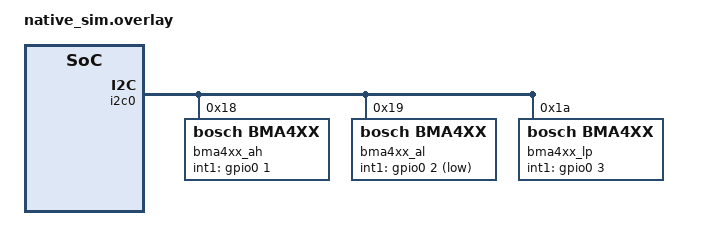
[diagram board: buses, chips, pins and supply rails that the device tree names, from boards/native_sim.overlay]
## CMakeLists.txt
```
# Copyright The Zephyr Project Contributors
# SPDX-License-Identifier: Apache-2.0

cmake_minimum_required(VERSION 3.28.0)
find_package(Zephyr REQUIRED HINTS $ENV{ZEPHYR_BASE})
project(bma4xx)

target_sources(app PRIVATE src/main.c)
```

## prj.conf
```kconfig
# Copyright The Zephyr Project Contributors
# SPDX-License-Identifier: Apache-2.0

CONFIG_ZTEST=y
CONFIG_SENSOR=y
CONFIG_SENSOR_ASYNC_API=y
CONFIG_EMUL=y
# Only the decoder is tested, from hand-built buffers
CONFIG_SENSOR_LOG_LEVEL_OFF=y
```

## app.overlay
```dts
/*
 * Copyright The Zephyr Project Contributors
 * SPDX-License-Identifier: Apache-2.0
 */

/*
 * No int1-gpios, so CONFIG_BMA4XX_STREAM stays disabled and the driver uses the
 * one-shot acquisition path.
 */
&i2c0 {
	bma4xx: bma4xx@18 {
		compatible = "bosch,bma4xx";
		reg = <0x18>;
	};
};
```

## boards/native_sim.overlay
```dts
/*
 * SPDX-FileCopyrightText: Copyright The Zephyr Project Contributors
 * SPDX-License-Identifier: Apache-2.0
 */

&i2c0 {
	bma4xx_ah: bma4xx@18 {
		compatible = "bosch,bma4xx";
		reg = <0x18>;
		int1-gpios = <&gpio0 1 GPIO_ACTIVE_HIGH>;
	};

	bma4xx_al: bma4xx@19 {
		compatible = "bosch,bma4xx";
		reg = <0x19>;
		int1-gpios = <&gpio0 2 GPIO_ACTIVE_LOW>;
	};

	bma4xx_lp: bma4xx@1a {
		compatible = "bosch,bma4xx";
		reg = <0x1a>;
		int1-gpios = <&gpio0 3 GPIO_ACTIVE_HIGH>;
		power-mode = "low-power";
	};
};
```

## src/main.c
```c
/*
 * Copyright The Zephyr Project Contributors
 *
 * SPDX-License-Identifier: Apache-2.0
 */

#include <zephyr/drivers/sensor.h>
#include <zephyr/sys/byteorder.h>
#include <zephyr/ztest.h>

#include "bma4xx_decoder.h"
#include "bma4xx_defs.h"

/* Allowed error of a decoded value, in micro-units (micro-m/s^2 or micro-degrees C) */
#define TOLERANCE_MICRO 1000

#define SAMPLE_TS_NS 123456789ULL

static const struct sensor_decoder_api *decoder = SENSOR_DECODER_DT_GET(DT_NODELABEL(bma4xx));

static const struct sensor_chan_spec chan_xyz = {SENSOR_CHAN_ACCEL_XYZ, 0};
static const struct sensor_chan_spec chan_axis[] = {
	{SENSOR_CHAN_ACCEL_X, 0},
	{SENSOR_CHAN_ACCEL_Y, 0},
	{SENSOR_CHAN_ACCEL_Z, 0},
};
static const struct sensor_chan_spec chan_temp = {SENSOR_CHAN_DIE_TEMP, 0};

static int64_t q31_to_micro(q31_t value, int8_t shift)
{
	return ((int64_t)value * 1000000) >> (31 - shift);
}

/* 12-bit sample to micro-m/s^2: full scale (2048 LSB) is 2 << accel_fs g */
static int64_t raw_to_micro(int16_t raw, uint8_t accel_fs)
{
	return (int64_t)raw * (2 << accel_fs) * SENSOR_G / 2048;
}

static void check_accel(q31_t value, int8_t shift, int16_t raw, uint8_t accel_fs)
{
	int64_t expected = raw_to_micro(raw, accel_fs);
	int64_t actual = q31_to_micro(value, shift);

	zassert_within(actual, expected, TOLERANCE_MICRO, "raw %d: got %lld, expected %lld", raw,
		       actual, expected);
}

/* Store a 12-bit sample left-justified in a 16-bit little endian word, as the sensor does */
static void put_accel(uint8_t *data, int16_t x, int16_t y, int16_t z)
{
	sys_put_le16((uint16_t)x << 4, &data[0]);
	sys_put_le16((uint16_t)y << 4, &data[2]);
	sys_put_le16((uint16_t)z << 4, &data[4]);
}

static void check_unsupported(const uint8_t *buffer, struct sensor_chan_spec chan)
{
	struct sensor_three_axis_data out;
	uint16_t frame_count;
	uint32_t fit = 0;

	zassert_equal(decoder->get_frame_count(buffer, chan, &frame_count), -ENOTSUP);
	zassert_equal(decoder->decode(buffer, chan, &fit, 1, &out), -ENOTSUP);
}

static void check_size_info(struct sensor_chan_spec chan, size_t base, size_t frame)
{
	size_t base_size;
	size_t frame_size;

	zassert_ok(decoder->get_size_info(chan, &base_size, &frame_size));
	zassert_equal(base_size, base);
	zassert_equal(frame_size, frame);
}

ZTEST(bma4xx_decoder, test_size_info)
{
	size_t base_size;
	size_t frame_size;

	check_size_info(chan_xyz, sizeof(struct sensor_three_axis_data),
			sizeof(struct sensor_three_axis_sample_data));

	for (int i = 0; i < ARRAY_SIZE(chan_axis); i++) {
		check_size_info(chan_axis[i], sizeof(struct sensor_q31_data),
				sizeof(struct sensor_q31_sample_data));
	}

	if (IS_ENABLED(CONFIG_BMA4XX_TEMPERATURE)) {
		check_size_info(chan_temp, sizeof(struct sensor_q31_data),
				sizeof(struct sensor_q31_sample_data));
	} else {
		zassert_equal(decoder->get_size_info(chan_temp, &base_size, &frame_size), -ENOTSUP);
	}

	zassert_equal(decoder->get_size_info((struct sensor_chan_spec){SENSOR_CHAN_GYRO_XYZ, 0},
					     &base_size, &frame_size),
		      -ENOTSUP);
	zassert_equal(decoder->get_size_info((struct sensor_chan_spec){SENSOR_CHAN_ACCEL_XYZ, 1},
					     &base_size, &frame_size),
		      -ENOTSUP);
}

static void check_single(uint8_t accel_fs, int16_t x, int16_t y, int16_t z)
{
	const int16_t raw[] = {x, y, z};
	struct bma4xx_encoded_data edata = {
		.header.timestamp = SAMPLE_TS_NS,
		.header.accel_fs = accel_fs,
	};
	const uint8_t *buffer = (const uint8_t *)&edata;
	struct sensor_three_axis_data out;
	struct sensor_q31_data out_1;
	uint16_t frame_count;
	uint32_t fit = 0;

	put_accel(edata.accel_xyz_raw_data, x, y, z);

	zassert_ok(decoder->get_frame_count(buffer, chan_xyz, &frame_count));
	zassert_equal(frame_count, 1);

	out.readings[0].timestamp_delta = 0xdeadbeef;
	zassert_equal(decoder->decode(buffer, chan_xyz, &fit, 1, &out), 1);
	zassert_equal(out.header.reading_count, 1);
	zassert_equal(out.header.base_timestamp_ns, SAMPLE_TS_NS);
	zassert_equal(out.readings[0].timestamp_delta, 0);
	zassert_equal(out.shift, 5 + accel_fs);
	check_accel(out.readings[0].x, out.shift, x, accel_fs);
	check_accel(out.readings[0].y, out.shift, y, accel_fs);
	check_accel(out.readings[0].z, out.shift, z, accel_fs);
	zassert_equal(decoder->decode(buffer, chan_xyz, &fit, 1, &out), 0);

	for (int i = 0; i < ARRAY_SIZE(chan_axis); i++) {
		zassert_ok(decoder->get_frame_count(buffer, chan_axis[i], &frame_count));
		zassert_equal(frame_count, 1);

		fit = 0;
		zassert_equal(decoder->decode(buffer, chan_axis[i], &fit, 1, &out_1), 1);
		zassert_equal(out_1.header.reading_count, 1);
		zassert_equal(out_1.header.base_timestamp_ns, SAMPLE_TS_NS);
		zassert_equal(out_1.shift, 5 + accel_fs);
		check_accel(out_1.readings[0].value, out_1.shift, raw[i], accel_fs);
		zassert_equal(decoder->decode(buffer, chan_axis[i], &fit, 1, &out_1), 0);
	}

	/* Nothing requested */
	fit = 0;
	zassert_equal(decoder->decode(buffer, chan_xyz, &fit, 0, &out), 0);

	zassert_false(decoder->has_trigger(buffer, SENSOR_TRIG_FIFO_WATERMARK));
	zassert_false(decoder->has_trigger(buffer, SENSOR_TRIG_FIFO_FULL));

	check_unsupported(buffer, (struct sensor_chan_spec){SENSOR_CHAN_GYRO_XYZ, 0});
	check_unsupported(buffer, (struct sensor_chan_spec){SENSOR_CHAN_ACCEL_XYZ, 1});
	if (!IS_ENABLED(CONFIG_BMA4XX_TEMPERATURE)) {
		check_unsupported(buffer, chan_temp);
	}
}

ZTEST(bma4xx_decoder, test_single_2g)
{
	check_single(BMA4XX_RANGE_2G, 1024, -1024, 2047);
}

ZTEST(bma4xx_decoder, test_single_4g)
{
	check_single(BMA4XX_RANGE_4G, -2048, 512, -1);
}

ZTEST(bma4xx_decoder, test_single_8g)
{
	check_single(BMA4XX_RANGE_8G, 256, 0, -256);
}

ZTEST(bma4xx_decoder, test_single_16g)
{
	check_single(BMA4XX_RANGE_16G, 2047, -2048, 128);
}

ZTEST(bma4xx_decoder, test_single_fifo_flag)
{
	struct bma4xx_encoded_data edata = {
		.header.timestamp = SAMPLE_TS_NS,
		.header.accel_fs = BMA4XX_RANGE_2G,
	};
	const uint8_t *buffer = (const uint8_t *)&edata;
	struct sensor_three_axis_data out;
	uint16_t frame_count;
	uint32_t fit = 0;

	Z_TEST_SKIP_IFDEF(CONFIG_BMA4XX_STREAM);

	/* The encoder only writes the FIFO flag with CONFIG_BMA4XX_STREAM */
	edata.header.is_fifo = 1;
	put_accel(edata.accel_xyz_raw_data, 1024, 0, -1024);

	zassert_ok(decoder->get_frame_count(buffer, chan_xyz, &frame_count));
	zassert_equal(frame_count, 1);
	zassert_equal(decoder->decode(buffer, chan_xyz, &fit, 1, &out), 1);
	check_accel(out.readings[0].x, out.shift, 1024, BMA4XX_RANGE_2G);
	check_accel(out.readings[0].z, out.shift, -1024, BMA4XX_RANGE_2G);
}

#ifdef CONFIG_BMA4XX_TEMPERATURE

static void check_temp(int8_t raw)
{
	struct bma4xx_encoded_data edata = {
		.header.timestamp = SAMPLE_TS_NS,
		.header.accel_fs = BMA4XX_RANGE_2G,
		.temp = raw,
	};
	const uint8_t *buffer = (const uint8_t *)&edata;
	struct sensor_q31_data out;
	uint16_t frame_count;
	uint32_t fit = 0;
	int64_t expected = ((int64_t)raw + 23) * 1000000;

	zassert_ok(decoder->get_frame_count(buffer, chan_temp, &frame_count));
	zassert_equal(frame_count, 1);

	zassert_equal(decoder->decode(buffer, chan_temp, &fit, 1, &out), 1);
	zassert_equal(out.header.reading_count, 1);
	zassert_equal(out.header.base_timestamp_ns, SAMPLE_TS_NS);
	zassert_equal(out.readings[0].timestamp_delta, 0);
	zassert_equal(out.shift, BMA4XX_TEMP_SHIFT);
	zassert_within(q31_to_micro(out.readings[0].temperature, out.shift), expected,
		       TOLERANCE_MICRO);
	zassert_equal(decoder->decode(buffer, chan_temp, &fit, 1, &out), 0);
}

ZTEST(bma4xx_decoder, test_single_temp)
{
	check_temp(0);
	check_temp(-10);
	check_temp(INT8_MAX);
	check_temp(INT8_MIN);
}

#endif /* CONFIG_BMA4XX_TEMPERATURE */

#ifdef CONFIG_BMA4XX_STREAM

#define LAST_TS_NS   10000000000ULL
#define FIFO_SIZE    128
#define MAX_READINGS 8

#define HEADER_ACCEL      0x84
#define HEADER_AUX        0x90
#define HEADER_AUX_ACCEL  0x94
#define HEADER_SKIP       0x40
#define HEADER_SENSORTIME 0x44
#define HEADER_CONFIG     0x48
#define HEADER_OVER_READ  0x80
#define HEADER_CTRL_OVER  0x60
#define HEADER_INVALID    0x00

static struct {
	struct bma4xx_fifo_data hdr;
	uint8_t data[FIFO_SIZE];
} __packed fifo;

static size_t fifo_len;

/*
 * Output of several readings, accessed through a pointer: indexing readings[] beyond the
 * first reading of a declared struct object is undefined behavior.
 */
#define OUT_BUF_SIZE                                                                               \
	(sizeof(struct sensor_three_axis_data) +                                                   \
	 (MAX_READINGS - 1) * sizeof(struct sensor_three_axis_sample_data))

static __aligned(8) uint8_t out_buf[OUT_BUF_SIZE];

static void fifo_init(uint8_t accel_fs, uint8_t accel_odr, uint8_t int_status)
{
	memset(&fifo, 0, sizeof(fifo));
	fifo.hdr.header.is_fifo = 1;
	fifo.hdr.header.accel_fs = accel_fs;
	fifo.hdr.header.timestamp = LAST_TS_NS;
	fifo.hdr.int_status = int_status;
	fifo.hdr.accel_odr = accel_odr;
	fifo_len = 0;
}

static void fifo_put(uint8_t header, size_t len)
{
	zassert_true(fifo_len + 1 + len <= FIFO_SIZE);
	fifo.data[fifo_len] = header;
	/* Filler for payloads that are not accelerometer data */
	memset(&fifo.data[fifo_len + 1], 0xa5, len);
	fifo_len += 1 + len;
	fifo.hdr.fifo_count = fifo_len;
}

static void fifo_put_accel(uint8_t header, int16_t x, int16_t y, int16_t z)
{
	size_t aux_len = (header == HEADER_AUX_ACCEL) ? BMA4XX_FIFO_M_LENGTH : 0;

	fifo_put(header, aux_len + BMA4XX_FIFO_A_LENGTH);
	put_accel(&fifo.data[fifo_len - BMA4XX_FIFO_A_LENGTH], x, y, z);
}

#define NUM_ACCEL 3

static const int16_t fifo_raw[NUM_ACCEL][3] = {
	{100, -200, 1024},
	{-2048, 2047, 0},
	{-5, 5, -1024},
};

/*
 * Accelerometer frames mixed with control and auxiliary frames, which do not hold readings
 * and do not take a time slot.
 */
static void fifo_fill_mixed(uint8_t accel_fs, uint8_t accel_odr)
{
	fifo_init(accel_fs, accel_odr, BMA4XX_BIT_INT_STAT_1_FWM_INT);
	fifo_put(HEADER_CONFIG, BMA4XX_FIFO_CF_LENGTH);
	fifo_put_accel(HEADER_ACCEL, fifo_raw[0][0], fifo_raw[0][1], fifo_raw[0][2]);
	fifo_put(HEADER_SKIP, BMA4XX_FIFO_CF_LENGTH);
	fifo_put(HEADER_AUX, BMA4XX_FIFO_M_LENGTH);
	fifo_put_accel(HEADER_AUX_ACCEL, fifo_raw[1][0], fifo_raw[1][1], fifo_raw[1][2]);
	fifo_put(HEADER_SENSORTIME, BMA4XX_FIFO_ST_LENGTH);
	fifo_put_accel(HEADER_ACCEL, fifo_raw[2][0], fifo_raw[2][1], fifo_raw[2][2]);
}

static uint64_t reading_ts(uint64_t period_ns, int idx)
{
	return LAST_TS_NS - (NUM_ACCEL - 1 - idx) * period_ns;
}

static void check_fifo(uint8_t accel_fs, uint8_t accel_odr, uint64_t period_ns)
{
	const uint8_t *buffer = (const uint8_t *)&fifo;
	struct sensor_three_axis_data *out = (struct sensor_three_axis_data *)out_buf;
	const struct sensor_three_axis_sample_data *readings = out->readings;
	struct sensor_q31_data *out_q31 = (struct sensor_q31_data *)out_buf;
	struct sensor_q31_data out_1;
	uint16_t frame_count;
	uint32_t fit = 0;

	fifo_fill_mixed(accel_fs, accel_odr);

	zassert_ok(decoder->get_frame_count(buffer, chan_xyz, &frame_count));
	zassert_equal(frame_count, NUM_ACCEL);

	/* All readings in one call */
	zassert_equal(decoder->decode(buffer, chan_xyz, &fit, MAX_READINGS, out), NUM_ACCEL);
	zassert_equal(out->header.reading_count, NUM_ACCEL);
	zassert_equal(out->header.base_timestamp_ns, reading_ts(period_ns, 0));
	zassert_equal(out->shift, 5 + accel_fs);

	for (int i = 0; i < NUM_ACCEL; i++) {
		zassert_equal(out->header.base_timestamp_ns + readings[i].timestamp_delta,
			      reading_ts(period_ns, i));
		check_accel(readings[i].x, out->shift, fifo_raw[i][0], accel_fs);
		check_accel(readings[i].y, out->shift, fifo_raw[i][1], accel_fs);
		check_accel(readings[i].z, out->shift, fifo_raw[i][2], accel_fs);
	}

	zassert_equal(decoder->decode(buffer, chan_xyz, &fit, MAX_READINGS, out), 0);

	/* One reading per call */
	fit = 0;
	for (int i = 0; i < NUM_ACCEL; i++) {
		zassert_equal(decoder->decode(buffer, chan_xyz, &fit, 1, out), 1);
		zassert_equal(out->header.reading_count, 1);
		zassert_equal(out->header.base_timestamp_ns + readings[0].timestamp_delta,
			      reading_ts(period_ns, i));
		check_accel(readings[0].x, out->shift, fifo_raw[i][0], accel_fs);
		check_accel(readings[0].y, out->shift, fifo_raw[i][1], accel_fs);
		check_accel(readings[0].z, out->shift, fifo_raw[i][2], accel_fs);
	}
	zassert_equal(decoder->decode(buffer, chan_xyz, &fit, 1, out), 0);

	/* Single axes */
	for (int axis = 0; axis < ARRAY_SIZE(chan_axis); axis++) {
		zassert_ok(decoder->get_frame_count(buffer, chan_axis[axis], &frame_count));
		zassert_equal(frame_count, NUM_ACCEL);

		fit = 0;
		for (int i = 0; i < NUM_ACCEL; i++) {
			zassert_equal(decoder->decode(buffer, chan_axis[axis], &fit, 1, &out_1), 1);
			zassert_equal(out_1.shift, 5 + accel_fs);
			zassert_equal(out_1.header.base_timestamp_ns +
					      out_1.readings[0].timestamp_delta,
				      reading_ts(period_ns, i));
			check_accel(out_1.readings[0].value, out_1.shift, fifo_raw[i][axis],
				    accel_fs);
		}
		zassert_equal(decoder->decode(buffer, chan_axis[axis], &fit, 1, &out_1), 0);

		fit = 0;
		zassert_equal(decoder->decode(buffer, chan_axis[axis], &fit, MAX_READINGS, out_q31),
			      NUM_ACCEL);
		zassert_equal(out_q31->header.reading_count, NUM_ACCEL);
		for (int i = 0; i < NUM_ACCEL; i++) {
			zassert_equal(out_q31->header.base_timestamp_ns +
					      out_q31->readings[i].timestamp_delta,
				      reading_ts(period_ns, i));
			check_accel(out_q31->readings[i].value, out_q31->shift, fifo_raw[i][axis],
				    accel_fs);
		}
	}

	zassert_true(decoder->has_trigger(buffer, SENSOR_TRIG_FIFO_WATERMARK));
	zassert_false(decoder->has_trigger(buffer, SENSOR_TRIG_FIFO_FULL));
	zassert_false(decoder->has_trigger(buffer, SENSOR_TRIG_DATA_READY));

	check_unsupported(buffer, (struct sensor_chan_spec){SENSOR_CHAN_GYRO_XYZ, 0});
	check_unsupported(buffer, (struct sensor_chan_spec){SENSOR_CHAN_ACCEL_XYZ, 1});
	/* The temperature is not stored in the FIFO */
	check_unsupported(buffer, chan_temp);
}

ZTEST(bma4xx_decoder, test_fifo_100hz)
{
	check_fifo(BMA4XX_RANGE_2G, BMA4XX_ODR_100, 10000000ULL);
}

ZTEST(bma4xx_decoder, test_fifo_0_78125hz)
{
	check_fifo(BMA4XX_RANGE_4G, BMA4XX_ODR_0_78125, 1280000000ULL);
}

ZTEST(bma4xx_decoder, test_fifo_12_5hz)
{
	check_fifo(BMA4XX_RANGE_8G, BMA4XX_ODR_12_5, 80000000ULL);
}

ZTEST(bma4xx_decoder, test_fifo_12800hz)
{
	check_fifo(BMA4XX_RANGE_16G, BMA4XX_ODR_12800, 78125ULL);
}

/* Readings at 0.78125 Hz spanning 8.96 s, more than UINT32_MAX ns */
#define NUM_LONG 8

ZTEST(bma4xx_decoder, test_fifo_long_span)
{
	const uint64_t period_ns = 1280000000ULL;
	const uint8_t *buffer = (const uint8_t *)&fifo;
	struct sensor_three_axis_data *out = (struct sensor_three_axis_data *)out_buf;
	const struct sensor_three_axis_sample_data *readings = out->readings;
	uint16_t frame_count;
	uint32_t fit = 0;
	int decoded = 0;
	int rc;

	fifo_init(BMA4XX_RANGE_4G, BMA4XX_ODR_0_78125, 0);
	for (int i = 0; i < NUM_LONG; i++) {
		if (i == 2) {
			fifo_put(HEADER_AUX, BMA4XX_FIFO_M_LENGTH);
		} else if (i == 5) {
			fifo_put(HEADER_SENSORTIME, BMA4XX_FIFO_ST_LENGTH);
		}
		fifo_put_accel(HEADER_ACCEL, 100 * i, -i, 2047 - i);
	}

	zassert_ok(decoder->get_frame_count(buffer, chan_xyz, &frame_count));
	zassert_equal(frame_count, NUM_LONG);

	/*
	 * A batch ends before a reading more than UINT32_MAX ns newer than its first one: four
	 * readings (3.84 s) per call.
	 */
	while ((rc = decoder->decode(buffer, chan_xyz, &fit, MAX_READINGS, out)) > 0) {
		zassert_equal(rc, NUM_LONG / 2);
		zassert_equal(out->header.reading_count, rc);
		zassert_equal(out->shift, 5 + BMA4XX_RANGE_4G);

		for (int i = 0; i < rc; i++, decoded++) {
			zassert_equal(out->header.base_timestamp_ns + readings[i].timestamp_delta,
				      LAST_TS_NS - (NUM_LONG - 1 - decoded) * period_ns);
			check_accel(readings[i].x, out->shift, 100 * decoded, BMA4XX_RANGE_4G);
			check_accel(readings[i].y, out->shift, -decoded, BMA4XX_RANGE_4G);
			check_accel(readings[i].z, out->shift, 2047 - decoded, BMA4XX_RANGE_4G);
		}
	}
	zassert_equal(rc, 0);
	zassert_equal(decoded, NUM_LONG);

	/* One reading per call */
	fit = 0;
	for (int i = 0; i < NUM_LONG; i++) {
		zassert_equal(decoder->decode(buffer, chan_xyz, &fit, 1, out), 1);
		zassert_equal(out->header.base_timestamp_ns + readings[0].timestamp_delta,
			      LAST_TS_NS - (NUM_LONG - 1 - i) * period_ns);
		check_accel(readings[0].x, out->shift, 100 * i, BMA4XX_RANGE_4G);
	}
	zassert_equal(decoder->decode(buffer, chan_xyz, &fit, 1, out), 0);
}

/* Check that the FIFO buffer holds one reading, the first frame 1, 2, 3 */
static void check_fifo_one_reading(void)
{
	const uint8_t *buffer = (const uint8_t *)&fifo;
	struct sensor_three_axis_data *out = (struct sensor_three_axis_data *)out_buf;
	uint16_t frame_count;
	uint32_t fit = 0;

	zassert_ok(decoder->get_frame_count(buffer, chan_xyz, &frame_count));
	zassert_equal(frame_count, 1);

	zassert_equal(decoder->decode(buffer, chan_xyz, &fit, MAX_READINGS, out), 1);
	zassert_equal(out->header.reading_count, 1);
	zassert_equal(out->header.base_timestamp_ns + out->readings[0].timestamp_delta, LAST_TS_NS);
	check_accel(out->readings[0].x, out->shift, 1, BMA4XX_RANGE_2G);
	check_accel(out->readings[0].y, out->shift, 2, BMA4XX_RANGE_2G);
	check_accel(out->readings[0].z, out->shift, 3, BMA4XX_RANGE_2G);
	zassert_equal(decoder->decode(buffer, chan_xyz, &fit, MAX_READINGS, out), 0);
}

ZTEST(bma4xx_decoder, test_fifo_end)
{
	const uint8_t *buffer = (const uint8_t *)&fifo;

	/* The data stops at an over-read marker */
	fifo_init(BMA4XX_RANGE_2G, BMA4XX_ODR_100, BMA4XX_BIT_INT_STAT_1_FFULL_INT);
	fifo_put_accel(HEADER_ACCEL, 1, 2, 3);
	fifo_put(HEADER_OVER_READ, 1);
	fifo_put_accel(HEADER_ACCEL, 4, 5, 6);

	check_fifo_one_reading();
	zassert_false(decoder->has_trigger(buffer, SENSOR_TRIG_FIFO_WATERMARK));
	zassert_true(decoder->has_trigger(buffer, SENSOR_TRIG_FIFO_FULL));

	/* The data stops at a control over-read frame */
	fifo_init(BMA4XX_RANGE_2G, BMA4XX_ODR_100, 0);
	fifo_put_accel(HEADER_ACCEL, 1, 2, 3);
	fifo_put(HEADER_CTRL_OVER, 1);
	fifo_put_accel(HEADER_ACCEL, 4, 5, 6);

	check_fifo_one_reading();

	/* The data stops at a header with neither the regular nor the control bit */
	fifo_init(BMA4XX_RANGE_2G, BMA4XX_ODR_100, 0);
	fifo_put_accel(HEADER_ACCEL, 1, 2, 3);
	fifo_put(HEADER_INVALID, 0);
	fifo_put_accel(HEADER_ACCEL, 4, 5, 6);

	check_fifo_one_reading();

	/* A frame cut at the end of the data is ignored */
	fifo_init(BMA4XX_RANGE_2G, BMA4XX_ODR_100, 0);
	fifo_put_accel(HEADER_ACCEL, 1, 2, 3);
	fifo_put_accel(HEADER_ACCEL, 4, 5, 6);
	fifo.hdr.fifo_count = fifo_len - 1;

	check_fifo_one_reading();
}

ZTEST(bma4xx_decoder, test_fifo_no_accel)
{
	const uint8_t *buffer = (const uint8_t *)&fifo;
	struct sensor_three_axis_data out;
	uint16_t frame_count;
	uint32_t fit = 0;

	/* Frames without accelerometer data */
	fifo_init(BMA4XX_RANGE_2G, BMA4XX_ODR_100, 0);
	fifo_put(HEADER_CONFIG, BMA4XX_FIFO_CF_LENGTH);
	fifo_put(HEADER_AUX, BMA4XX_FIFO_M_LENGTH);
	fifo_put(HEADER_SENSORTIME, BMA4XX_FIFO_ST_LENGTH);

	zassert_ok(decoder->get_frame_count(buffer, chan_xyz, &frame_count));
	zassert_equal(frame_count, 0);
	zassert_equal(decoder->decode(buffer, chan_xyz, &fit, 1, &out), -ENODATA);
	zassert_equal(decoder->decode(buffer, chan_axis[0], &fit, 1, &out), -ENODATA);
}

ZTEST(bma4xx_decoder, test_fifo_empty)
{
	const uint8_t *buffer = (const uint8_t *)&fifo;
	struct sensor_three_axis_data out;
	uint16_t frame_count;
	uint32_t fit = 0;

	/* Buffer completed without data, for SENSOR_STREAM_DATA_NOP or _DROP */
	fifo_init(0, 0, BMA4XX_BIT_INT_STAT_1_FWM_INT);

	zassert_ok(decoder->get_frame_count(buffer, chan_xyz, &frame_count));
	zassert_equal(frame_count, 0);
	zassert_equal(decoder->decode(buffer, chan_xyz, &fit, 1, &out), 0);
	zassert_true(decoder->has_trigger(buffer, SENSOR_TRIG_FIFO_WATERMARK));
	zassert_false(decoder->has_trigger(buffer, SENSOR_TRIG_FIFO_FULL));
}

#endif /* CONFIG_BMA4XX_STREAM */

ZTEST_SUITE(bma4xx_decoder, NULL, NULL, NULL, NULL, NULL);
```
